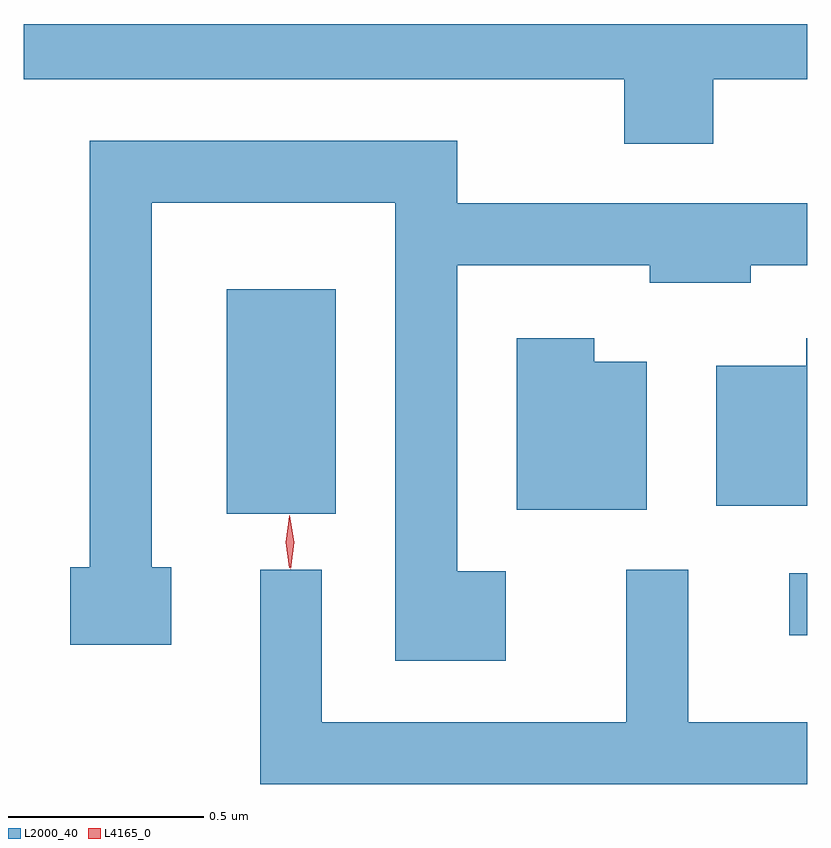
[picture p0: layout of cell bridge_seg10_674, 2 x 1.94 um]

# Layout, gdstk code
import gdstk
lib = gdstk.Library(unit=1e-6, precision=1e-09)
def R(c, l, rs):  # rectangles x0, y0, x1, y1
    for r in rs: c.add(gdstk.rectangle(r[:2], r[2:], *l))
def P(c, l, *ps):  # polygons
    for p in ps: c.add(gdstk.Polygon(p, *l))
L2000_40 = (2000, 40)
L4165_0 = (4165, 0)

bridge_seg10_674 = lib.new_cell('bridge_seg10_674')
R(bridge_seg10_674, L2000_40, [(757.303,2092.516,757.348,2092.674), (755.866,2092.826,756.144,2093.399)])
P(bridge_seg10_674, L2000_40, [(757.109,2093.936),(757.348,2093.936),(757.348,2094.077),(755.348,2094.077),(755.348,2093.936),(756.881,2093.936),(756.881,2093.771),(757.109,2093.771)],
  [(756.579,2092.679),(756.454,2092.679),(756.454,2093.461),(756.946,2093.461),(756.946,2093.416),(757.204,2093.416),(757.204,2093.461),(757.348,2093.461),(757.348,2093.619),(756.454,2093.619),(756.454,2093.779),(755.516,2093.779),(755.516,2092.689),(755.466,2092.689),(755.466,2092.491),(755.724,2092.491),(755.724,2092.689),(755.674,2092.689),(755.674,2093.621),(756.296,2093.621),(756.296,2092.451),(756.579,2092.451)],
  [(756.939,2093.214),(756.804,2093.214),(756.804,2093.274),(756.606,2093.274),(756.606,2092.836),(756.939,2092.836)],
  [(757.348,2093.274),(757.346,2093.274),(757.346,2093.204),(757.116,2093.204),(757.116,2092.846),(757.348,2092.846)],
  [(757.348,2092.294),(757.044,2092.294),(757.044,2092.683),(756.886,2092.683),(756.886,2092.294),(756.109,2092.294),(756.109,2092.683),(755.951,2092.683),(755.951,2092.136),(757.348,2092.136)])
P(bridge_seg10_674, L4165_0, [(756.03,2092.684),(756.029,2092.685),(756.018,2092.753),(756.026,2092.821),(756.027,2092.822),(756.027,2092.821),(756.038,2092.753),(756.03,2092.685)],
  [(756.026,2092.688),(756.016,2092.754),(756.025,2092.819),(756.025,2092.819),(756.026,2092.819),(756.036,2092.754),(756.027,2092.688),(756.027,2092.688)])

lib.write_gds('bridge_seg10_674.gds')
